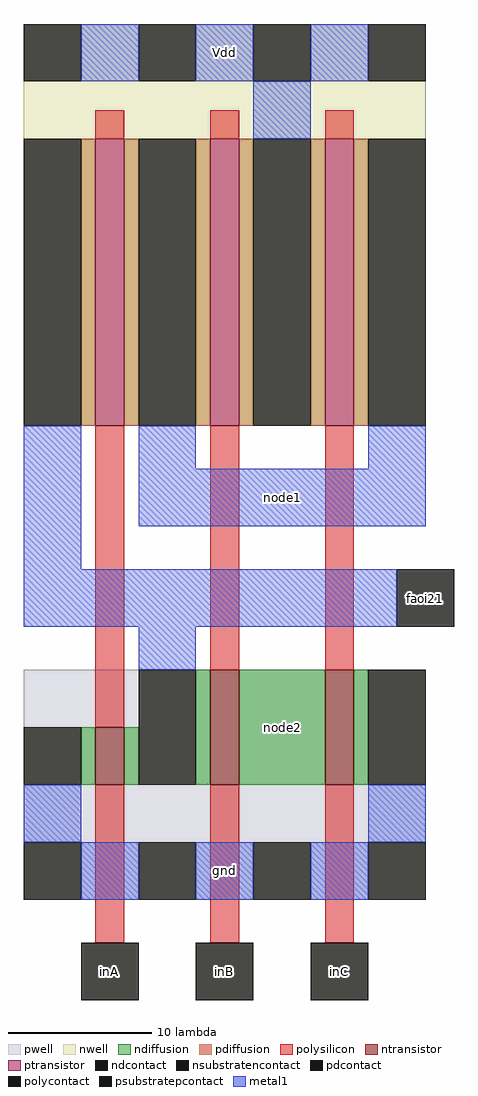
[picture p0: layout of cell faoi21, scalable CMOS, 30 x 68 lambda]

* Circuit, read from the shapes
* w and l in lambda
.subckt faoi21 Vdd gnd inA inB inC node1 node2
M1 n1 inA gnd gnd nfet w=4 l=2
M2 node2 inB n1 gnd nfet w=8 l=2
M3 gnd inC node2 gnd nfet w=8 l=2
M4 node1 inA n1 Vdd pfet w=20 l=2
M5 Vdd inB node1 Vdd pfet w=20 l=2
M6 node1 inC Vdd Vdd pfet w=20 l=2
.ends

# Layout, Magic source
magic
tech scmos
<< pwell >>
rect -32 -20 -4 -4
<< nwell >>
rect -32 13 -4 41
<< polysilicon >>
rect -27 33 -25 35
rect -19 33 -17 35
rect -11 33 -9 35
rect -27 -8 -25 13
rect -19 -4 -17 13
rect -11 -4 -9 13
rect -27 -23 -25 -12
rect -19 -23 -17 -12
rect -11 -23 -9 -12
<< ndiffusion >>
rect -28 -12 -27 -8
rect -25 -12 -24 -8
rect -20 -12 -19 -4
rect -17 -12 -11 -4
rect -9 -12 -8 -4
<< pdiffusion >>
rect -28 13 -27 33
rect -25 13 -24 33
rect -20 13 -19 33
rect -17 13 -16 33
rect -12 13 -11 33
rect -9 13 -8 33
<< metal1 >>
rect -28 37 -24 41
rect -20 37 -16 41
rect -12 37 -8 41
rect -16 33 -12 37
rect -32 3 -28 13
rect -24 10 -20 13
rect -8 10 -4 13
rect -24 6 -4 10
rect -32 -1 -6 3
rect -24 -4 -20 -1
rect -32 -16 -28 -12
rect -8 -16 -4 -12
rect -28 -20 -24 -16
rect -20 -20 -16 -16
rect -12 -20 -8 -16
<< ntransistor >>
rect -27 -12 -25 -8
rect -19 -12 -17 -4
rect -11 -12 -9 -4
<< ptransistor >>
rect -27 13 -25 33
rect -19 13 -17 33
rect -11 13 -9 33
<< polycontact >>
rect -6 -1 -2 3
rect -28 -27 -24 -23
rect -20 -27 -16 -23
rect -12 -27 -8 -23
<< ndcontact >>
rect -32 -12 -28 -8
rect -24 -12 -20 -4
rect -8 -12 -4 -4
<< pdcontact >>
rect -32 13 -28 33
rect -24 13 -20 33
rect -16 13 -12 33
rect -8 13 -4 33
<< psubstratepcontact >>
rect -32 -20 -28 -16
rect -24 -20 -20 -16
rect -16 -20 -12 -16
rect -8 -20 -4 -16
<< nsubstratencontact >>
rect -32 37 -28 41
rect -24 37 -20 41
rect -16 37 -12 41
rect -8 37 -4 41
<< labels >>
rlabel metal1 -6 -1 -2 3 0 faoi21
rlabel metal1 -20 37 -16 41 0 Vdd
rlabel metal1 -17 6 -11 10 0 node1
rlabel ndiffusion -17 -12 -11 -4 0 node2
rlabel polycontact -26 -25 -26 -25 0 inA
rlabel polycontact -18 -25 -18 -25 0 inB
rlabel polycontact -10 -25 -10 -25 0 inC
rlabel metal1 -18 -18 -18 -18 0 gnd
<< end >>
